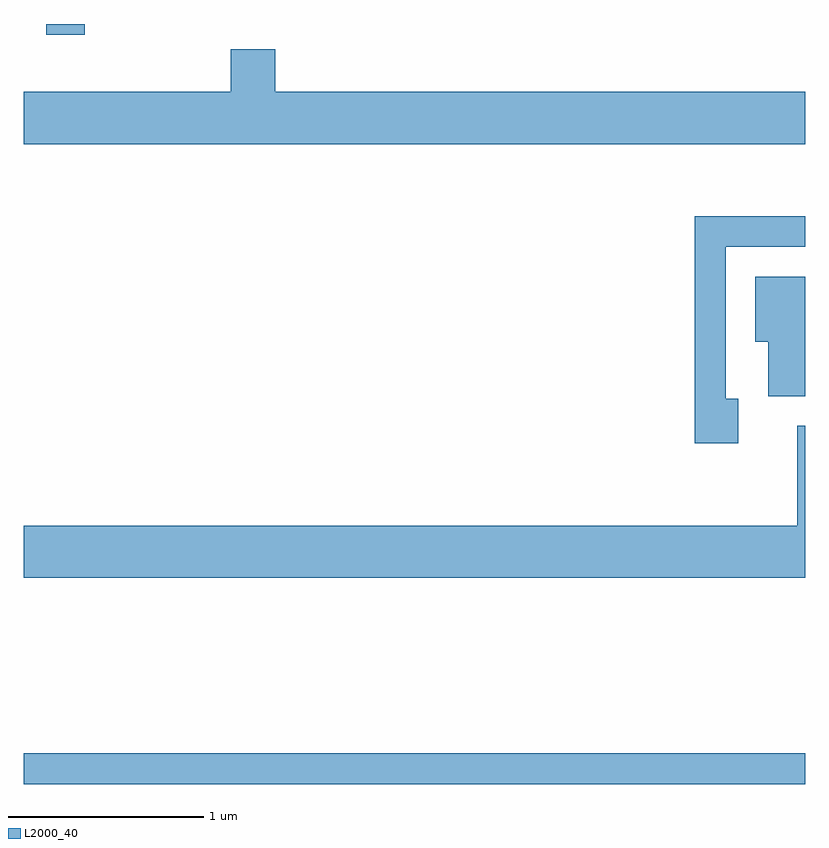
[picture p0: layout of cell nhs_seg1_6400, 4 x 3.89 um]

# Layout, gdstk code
import gdstk
lib = gdstk.Library(unit=1e-6, precision=1e-09)
def R(c, l, rs):  # rectangles x0, y0, x1, y1
    for r in rs: c.add(gdstk.rectangle(r[:2], r[2:], *l))
def P(c, l, *ps):  # polygons
    for p in ps: c.add(gdstk.Polygon(p, *l))
L2000_40 = (2000, 40)

nhs_seg1_6400 = lib.new_cell('nhs_seg1_6400')
R(nhs_seg1_6400, L2000_40, [(377.611,931.821,381.611,931.979), (377.726,935.656,377.924,935.712)])
P(nhs_seg1_6400, L2000_40, [(381.611,935.364),(378.899,935.364),(378.899,935.584),(378.671,935.584),(378.671,935.364),(377.611,935.364),(377.611,935.096),(381.611,935.096)],
  [(381.269,933.794),(381.204,933.794),(381.204,934.571),(381.611,934.571),(381.611,934.729),(381.046,934.729),(381.046,933.566),(381.269,933.566)],
  [(381.611,934.419),(381.356,934.419),(381.356,934.086),(381.421,934.086),(381.421,933.806),(381.611,933.806)],
  [(381.611,933.654),(381.571,933.654),(381.571,933.144),(377.611,933.144),(377.611,932.876),(381.611,932.876)])

lib.write_gds('nhs_seg1_6400.gds')
